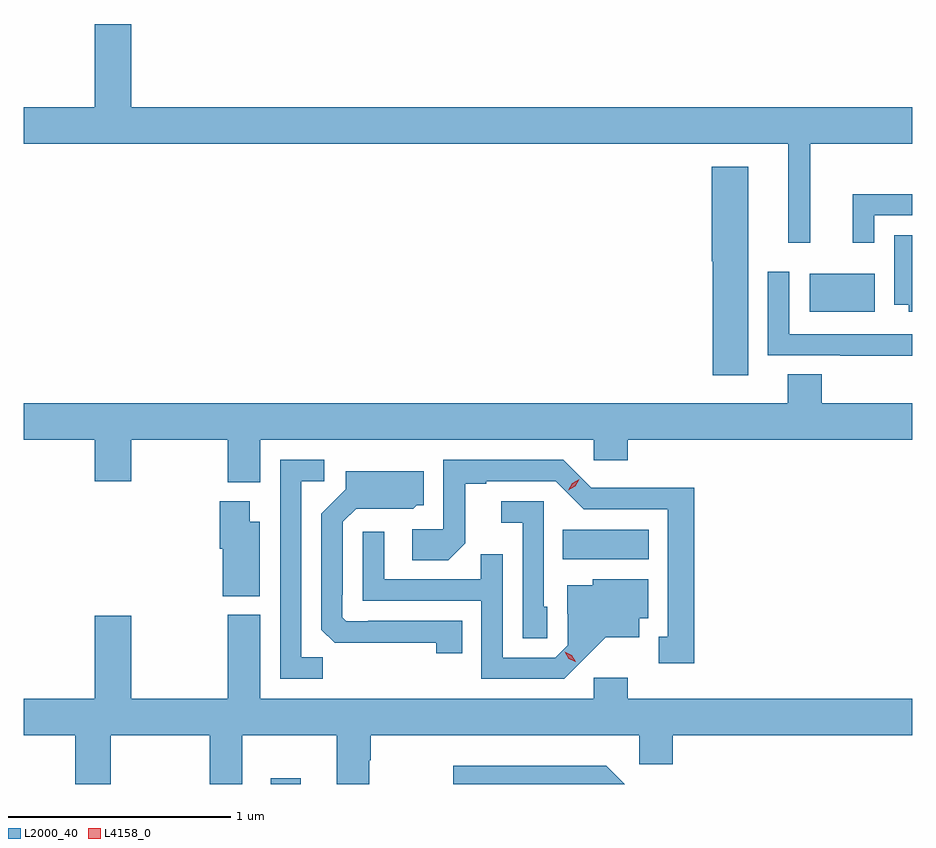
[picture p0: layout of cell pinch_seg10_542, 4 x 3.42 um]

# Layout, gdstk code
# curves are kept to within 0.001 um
import gdstk
lib = gdstk.Library(unit=1e-6, precision=1e-09)
def R(c, l, rs):  # rectangles x0, y0, x1, y1
    for r in rs: c.add(gdstk.rectangle(r[:2], r[2:], *l))
def P(c, l, *ps):  # polygons
    for p in ps: c.add(gdstk.Polygon(p, *l))
L2000_40 = (2000, 40)
L4158_0 = (4158, 0)

pinch_seg10_542 = lib.new_cell('pinch_seg10_542')
R(pinch_seg10_542, L2000_40, [(309.657,1260.137,309.793,1260.163), (310.972,1261.148,311.359,1261.282), (312.083,1262.264,312.376,1262.434)])
P(pinch_seg10_542, L2000_40, [(312.086,1263.02),(312.545,1263.02),(312.545,1263.184),(309.028,1263.184),(309.028,1263.559),(308.864,1263.559),(308.864,1263.184),(308.545,1263.184),(308.545,1263.02),(311.987,1263.02),(311.987,1262.574),(312.086,1262.574)],
  [(311.806,1262.917),(311.642,1262.917),(311.642,1262.49),(311.648,1262.49),(311.648,1261.977),(311.806,1261.977)],
  [(312.375,1262.697),(312.545,1262.697),(312.545,1262.793),(312.278,1262.793),(312.278,1262.574),(312.375,1262.574)],
  [(312.545,1262.608),(312.464,1262.608),(312.464,1262.294),(312.53,1262.294),(312.53,1262.264),(312.545,1262.264)],
  [(312.545,1262.163),(311.991,1262.163),(311.991,1262.443),(311.895,1262.443),(311.895,1262.067),(312.22,1262.067),(312.22,1262.066),(312.545,1262.066)],
  [(309.61,1261.688),(311.112,1261.688),(311.112,1261.595),(311.264,1261.595),(311.264,1261.688),(312.545,1261.688),(312.545,1261.852),(312.137,1261.852),(312.137,1261.982),(311.984,1261.982),(311.984,1261.852),(308.545,1261.852),(308.545,1261.688),(308.864,1261.688),(308.864,1261.5),(309.028,1261.5),(309.028,1261.688),(309.463,1261.688),(309.463,1261.496),(309.61,1261.496)],
  [(309.891,1260.707),(309.795,1260.707),(309.795,1261.5),(309.898,1261.5),(309.898,1261.596),(309.699,1261.596),(309.699,1260.612),(309.891,1260.612)],
  [(311.563,1261.472),(311.322,1261.472),(311.322,1261.47),(311.1,1261.47),(310.974,1261.596),(310.434,1261.596),(310.434,1261.284),(310.293,1261.284),(310.293,1261.144),(310.457,1261.144),(310.533,1261.22),(310.533,1261.488),(310.627,1261.488),(310.627,1261.5),(310.941,1261.5),(311.067,1261.374),(311.444,1261.374),(311.444,1260.801),(311.405,1260.801),(311.405,1260.681),(311.563,1260.681)],
  [(310.52,1260.873),(310.096,1260.873),(310.096,1260.87),(309.996,1260.87),(309.978,1260.888),(309.978,1260.988),(309.981,1260.988),(309.981,1261.317),(310.041,1261.377),(310.298,1261.376),(310.314,1261.392),(310.345,1261.392),(310.345,1261.546),(309.995,1261.546),(309.995,1261.464),(309.885,1261.354),(309.885,1260.832),(309.944,1260.773),(310.402,1260.772),(310.402,1260.726),(310.52,1260.726)],
  [(309.607,1261.318),(309.562,1261.318),(309.562,1261.411),(309.428,1261.411),(309.428,1261.197),(309.44,1261.197),(309.44,1260.983),(309.607,1260.983)],
  [(310.902,1260.936),(310.887,1260.936),(310.887,1261.41),(310.695,1261.41),(310.695,1261.313),(310.791,1261.313),(310.791,1260.793),(310.902,1260.793)],
  [(311.062,1260.695),(311.165,1260.797),(311.317,1260.797),(311.317,1260.884),(311.356,1260.884),(311.356,1261.06),(311.106,1261.06),(311.106,1261.033),(310.991,1261.033),(310.991,1260.904),(310.995,1260.904),(310.995,1260.762),(310.938,1260.705),(310.701,1260.705),(310.701,1261.172),(310.603,1261.172),(310.603,1261.059),(310.167,1261.059),(310.167,1261.273),(310.071,1261.273),(310.071,1260.963),(310.605,1260.963),(310.605,1260.612),(310.978,1260.612)],
  [(308.937,1260.356),(309.382,1260.356),(309.382,1260.137),(309.529,1260.137),(309.529,1260.356),(309.953,1260.356),(309.953,1260.137),(310.101,1260.137),(310.101,1260.243),(310.106,1260.243),(310.106,1260.356),(311.316,1260.356),(311.316,1260.225),(311.468,1260.225),(311.468,1260.356),(312.545,1260.356),(312.545,1260.52),(311.264,1260.52),(311.264,1260.616),(311.112,1260.616),(311.112,1260.52),(309.61,1260.52),(309.61,1260.898),(309.463,1260.898),(309.463,1260.52),(309.028,1260.52),(309.028,1260.895),(308.864,1260.895),(308.864,1260.52),(308.545,1260.52),(308.545,1260.356),(308.777,1260.356),(308.777,1260.137),(308.937,1260.137)],
  [(311.168,1260.22),(310.479,1260.22),(310.479,1260.137),(311.251,1260.137)])
P(pinch_seg10_542, L4158_0, [(310.996,1261.459),(310.996,1261.459),(311.014,1261.491),(311.046,1261.509),(311.046,1261.509),(311.046,1261.509),(311.028,1261.477),(310.996,1261.459)],
  [(311.029,1260.687),(310.998,1260.702),(310.98,1260.732),(310.98,1260.732),(310.981,1260.732),(311.012,1260.717),(311.03,1260.687),(311.03,1260.687)])

lib.write_gds('pinch_seg10_542.gds')
